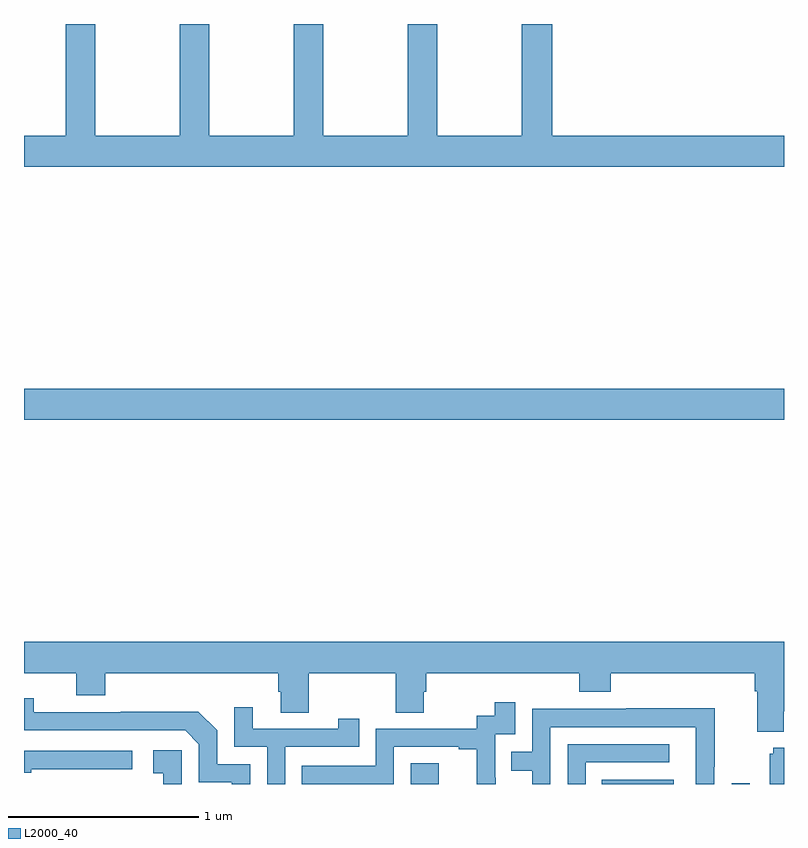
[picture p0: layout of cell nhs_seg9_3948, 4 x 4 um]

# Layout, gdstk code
import gdstk
lib = gdstk.Library(unit=1e-6, precision=1e-09)
def R(c, l, rs):  # rectangles x0, y0, x1, y1
    for r in rs: c.add(gdstk.rectangle(r[:2], r[2:], *l))
def P(c, l, *ps):  # polygons
    for p in ps: c.add(gdstk.Polygon(p, *l))
L2000_40 = (2000, 40)

nhs_seg9_3948 = lib.new_cell('nhs_seg9_3948')
R(nhs_seg9_3948, L2000_40, [(339.036,1198.5,339.184,1198.609), (340.042,1198.5,340.42,1198.522), (340.725,1198.5,340.821,1198.504), (337,1200.416,341,1200.58)])
P(nhs_seg9_3948, L2000_40, [(341,1201.912),(339.779,1201.912),(339.779,1202.5),(339.619,1202.5),(339.619,1201.912),(339.174,1201.912),(339.174,1202.5),(339.019,1202.5),(339.019,1201.912),(338.574,1201.912),(338.574,1202.5),(338.419,1202.5),(338.419,1201.912),(337.974,1201.912),(337.974,1202.5),(337.819,1202.5),(337.819,1201.912),(337.374,1201.912),(337.374,1202.5),(337.219,1202.5),(337.219,1201.912),(337,1201.912),(337,1201.748),(341,1201.748)],
  [(340.999,1198.882),(341,1198.882),(341,1199.248),(337,1199.248),(337,1199.084),(337.274,1199.084),(337.274,1198.967),(337.427,1198.967),(337.427,1199.084),(338.339,1199.084),(338.339,1198.986),(338.351,1198.986),(338.351,1198.876),(338.499,1198.876),(338.499,1199.084),(338.956,1199.084),(338.956,1198.876),(339.103,1198.876),(339.103,1198.986),(339.116,1198.986),(339.116,1199.084),(339.923,1199.084),(339.923,1198.985),(340.088,1198.985),(340.088,1199.084),(340.847,1199.084),(340.847,1198.988),(340.859,1198.988),(340.859,1198.775),(340.999,1198.775)],
  [(338.19,1198.605),(338.016,1198.605),(338.016,1198.782),(337.918,1198.88),(337.51,1198.88),(337.51,1198.878),(337.05,1198.878),(337.05,1198.951),(337,1198.951),(337,1198.782),(337.848,1198.782),(337.92,1198.71),(337.92,1198.509),(338.093,1198.509),(338.093,1198.5),(338.19,1198.5)],
  [(338.946,1198.695),(339.287,1198.695),(339.287,1198.683),(339.383,1198.683),(339.383,1198.5),(339.482,1198.5),(339.482,1198.532),(339.48,1198.532),(339.48,1198.761),(339.585,1198.761),(339.585,1198.93),(339.477,1198.93),(339.477,1198.86),(339.384,1198.86),(339.384,1198.791),(338.85,1198.791),(338.85,1198.596),(338.461,1198.596),(338.461,1198.5),(338.946,1198.5)],
  [(338.376,1198.695),(338.765,1198.695),(338.765,1198.843),(338.654,1198.843),(338.654,1198.791),(338.203,1198.791),(338.203,1198.903),(338.106,1198.903),(338.106,1198.695),(338.28,1198.695),(338.28,1198.5),(338.376,1198.5)],
  [(339.771,1198.8),(340.536,1198.8),(340.536,1198.5),(340.632,1198.5),(340.632,1198.591),(340.635,1198.591),(340.635,1198.898),(340.171,1198.898),(340.171,1198.896),(339.675,1198.896),(339.675,1198.671),(339.565,1198.671),(339.565,1198.57),(339.675,1198.57),(339.675,1198.5),(339.771,1198.5)],
  [(339.957,1198.614),(340.396,1198.614),(340.396,1198.71),(339.861,1198.71),(339.861,1198.5),(339.957,1198.5)],
  [(341,1198.69),(340.943,1198.69),(340.943,1198.659),(340.925,1198.659),(340.925,1198.5),(341,1198.5)],
  [(337.83,1198.678),(337.68,1198.678),(337.68,1198.557),(337.733,1198.557),(337.733,1198.5),(337.83,1198.5)],
  [(337.037,1198.578),(337.57,1198.578),(337.57,1198.674),(337,1198.674),(337,1198.558),(337.037,1198.558)])

lib.write_gds('nhs_seg9_3948.gds')
